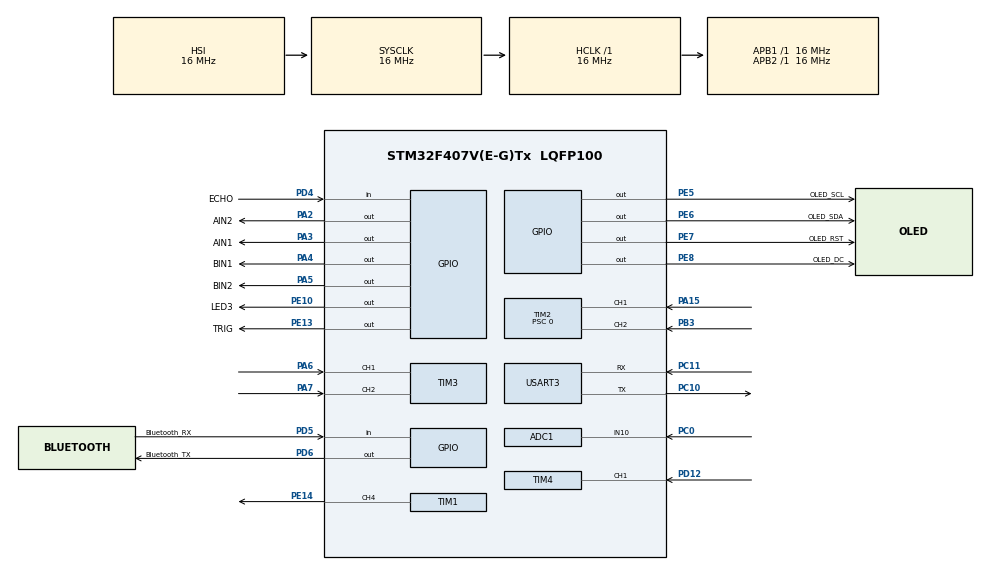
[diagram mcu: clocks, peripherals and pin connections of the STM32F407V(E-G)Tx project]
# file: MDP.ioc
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ADC1.Channel-2\#ChannelRegularConversion=ADC_CHANNEL_10
ADC1.ContinuousConvMode=ENABLE
ADC1.NbrOfConversionFlag=1
ADC1.Rank-2\#ChannelRegularConversion=1
ADC1.SamplingTime-2\#ChannelRegularConversion=ADC_SAMPLETIME_3CYCLES
ADC1.ScanConvMode=ENABLE
ADC1.master=1
FREERTOS.Tasks01=defaultTask,24,128,StartDefaultTask,Default,NULL,Dynamic,NULL,NULL;MotorTask,8,128,motors,Default,NULL,Dynamic,NULL,NULL;Encoder,8,128,encoder,Default,NULL,Dynamic,NULL,NULL;showtask,8,128,show,Default,NULL,Dynamic,NULL,NULL
Mcu.Family=STM32F4
Mcu.Name=STM32F407V(E-G)Tx
Mcu.Package=LQFP100
NVIC.ADC_IRQn=true\:5\:0\:false\:false\:true\:true\:true\:true
NVIC.PriorityGroup=NVIC_PRIORITYGROUP_4
NVIC.TIM1_CC_IRQn=true\:5\:0\:false\:false\:true\:true\:true\:true
NVIC.TIM4_IRQn=true\:5\:0\:false\:false\:true\:true\:true\:true
NVIC.USART3_IRQn=true\:5\:0\:false\:false\:true\:true\:true\:true
PA15.GPIO_Speed=GPIO_SPEED_FREQ_HIGH
PA15.Signal=S_TIM2_CH1_ETR
PA2.GPIO_Label=AIN2
PA2.GPIO_Speed=GPIO_SPEED_FREQ_LOW
PA2.Signal=GPIO_Output
PA3.GPIO_Label=AIN1
PA3.GPIO_Speed=GPIO_SPEED_FREQ_LOW
PA3.Signal=GPIO_Output
PA4.GPIO_Label=BIN1
PA4.Signal=GPIO_Output
PA5.GPIO_Label=BIN2
PA5.Signal=GPIO_Output
PA6.Signal=S_TIM3_CH1
PA7.Signal=S_TIM3_CH2
PB3.GPIO_Speed=GPIO_SPEED_FREQ_HIGH
PB3.Signal=S_TIM2_CH2
PC0.Signal=ADCx_IN10
PC10.Mode=Asynchronous
PC10.Signal=USART3_TX
PC11.Mode=Asynchronous
PC11.Signal=USART3_RX
PC6.GPIO_Label=PWMA
PC6.Signal=S_TIM8_CH1
PC7.GPIO_Label=PWMB
PC7.Signal=S_TIM8_CH2
PD12.Signal=S_TIM4_CH1
PD4.GPIO_Label=ECHO
PD4.Signal=GPIO_Input
PD5.GPIO_Label=Bluetooth_RX
PD5.Signal=GPIO_Input
PD6.GPIO_Label=Bluetooth_TX
PD6.Signal=GPIO_Output
PE10.GPIO_Label=LED3
PE10.Signal=GPIO_Output
PE13.GPIO_Label=TRIG
PE13.Signal=GPIO_Output
PE14.Signal=S_TIM1_CH4
PE5.GPIO_Label=OLED_SCL
PE5.Signal=GPIO_Output
PE6.GPIO_Label=OLED_SDA
PE6.Signal=GPIO_Output
PE7.GPIO_Label=OLED_RST
PE7.Signal=GPIO_Output
PE8.GPIO_Label=OLED_DC
PE8.Signal=GPIO_Output
ProjectManager.HeapSize=0x200
ProjectManager.StackSize=0x400
ProjectManager.TargetToolchain=STM32CubeIDE
RCC.AHBFreq_Value=16000000
RCC.APB1Freq_Value=16000000
RCC.APB2Freq_Value=16000000
RCC.CortexFreq_Value=16000000
RCC.HSE_VALUE=25000000
RCC.HSI_VALUE=16000000
RCC.LSE_VALUE=32768
RCC.SYSCLKFreq_VALUE=16000000
RCC.VCOOutputFreq_Value=192000000
SH.ADCx_IN10.0=ADC1_IN10,IN10
SH.S_TIM1_CH4.0=TIM1_CH4,PWM Generation4 CH4
SH.S_TIM2_CH1_ETR.0=TIM2_CH1,Encoder_Interface
SH.S_TIM2_CH2.0=TIM2_CH2,Encoder_Interface
SH.S_TIM3_CH1.0=TIM3_CH1,Encoder_Interface
SH.S_TIM3_CH2.0=TIM3_CH2,Encoder_Interface
SH.S_TIM4_CH1.0=TIM4_CH1,Input_Capture1_from_TI1
SH.S_TIM8_CH1.0=TIM8_CH1
SH.S_TIM8_CH2.0=TIM8_CH2
TIM1.AutoReloadPreload=TIM_AUTORELOAD_PRELOAD_ENABLE
TIM1.Channel-PWM\ Generation4\ CH4=TIM_CHANNEL_4
TIM1.Period=2000
TIM1.Prescaler=320
TIM2.ClockDivision=TIM_CLOCKDIVISION_DIV1
TIM2.EncoderMode=TIM_ENCODERMODE_TI12
TIM2.IC1Filter=10
TIM2.IC1Prescaler=TIM_ICPSC_DIV1
TIM2.IC2Filter=10
TIM2.IC2Prescaler=TIM_ICPSC_DIV1
TIM2.Period=65535
TIM2.Prescaler=0
TIM3.EncoderMode=TIM_ENCODERMODE_TI12
TIM3.IC1Filter=10
TIM3.IC2Filter=10
TIM4.Channel-Input_Capture1_from_TI1=TIM_CHANNEL_1
TIM4.Prescaler=16
TIM8.Channel-PWM\ Generation1\ No\ Output=TIM_CHANNEL_1
TIM8.Channel-PWM\ Generation2\ No\ Output=TIM_CHANNEL_2
TIM8.Period=7199
USART3.VirtualMode=VM_ASYNC
VP_FREERTOS_VS_CMSIS_V2.Mode=CMSIS_V2
VP_TIM1_VS_ClockSourceINT.Mode=Internal
VP_TIM4_VS_ClockSourceINT.Mode=Internal
VP_TIM8_VS_ClockSourceINT.Mode=Internal
VP_TIM8_VS_no_output1.Mode=PWM Generation1 No Output
VP_TIM8_VS_no_output2.Mode=PWM Generation2 No Output
board=custom

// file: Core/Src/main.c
/* USER CODE BEGIN Header */
/**
  ******************************************************************************
  * @file           : main.c
  * @brief          : Main program body
  ******************************************************************************
  * @attention
  *
  * Copyright (c) 2022 STMicroelectronics.
  * All rights reserved.
  *
  * This software is licensed under terms that can be found in the LICENSE file
  * in the root directory of this software component.
  * If no LICENSE file comes with this software, it is provided AS-IS.
  *
  ******************************************************************************
  */
/* USER CODE END Header */
#include "main.h"
#include "cmsis_os.h"
#include "oled.h"
#include "math.h"

ADC_HandleTypeDef hadc1;

TIM_HandleTypeDef htim1;
TIM_HandleTypeDef htim2;
TIM_HandleTypeDef htim3;
TIM_HandleTypeDef htim4;
TIM_HandleTypeDef htim8;

UART_HandleTypeDef huart3;

/* Definitions for defaultTask */
osThreadId_t defaultTaskHandle;
const osThreadAttr_t defaultTask_attributes = {
  .name = "defaultTask",
  .stack_size = 128 * 4,
  .priority = (osPriority_t) osPriorityNormal,
};
/* Definitions for MotorTask */
osThreadId_t MotorTaskHandle;
const osThreadAttr_t MotorTask_attributes = {
  .name = "MotorTask",
  .stack_size = 128 * 4,
  .priority = (osPriority_t) osPriorityLow,
};
/* Definitions for Encoder */
osThreadId_t EncoderHandle;
const osThreadAttr_t Encoder_attributes = {
  .name = "Encoder",
  .stack_size = 128 * 4,
  .priority = (osPriority_t) osPriorityLow,
};
/* Definitions for showtask */
osThreadId_t showtaskHandle;
const osThreadAttr_t showtask_attributes = {
  .name = "showtask",
  .stack_size = 128 * 4,
  .priority = (osPriority_t) osPriorityLow,
};

void SystemClock_Config(void);
static void MX_GPIO_Init(void);
static void MX_TIM8_Init(void);
static void MX_TIM2_Init(void);
static void MX_TIM1_Init(void);
static void MX_USART3_UART_Init(void);
static void MX_TIM3_Init(void);
static void MX_TIM4_Init(void);
static void MX_ADC1_Init(void);
void StartDefaultTask(void *argument);
void motors(void *argument);
void encoder(void *argument);
void show(void *argument);
void navigate();

int speed1,speed2,y,stop;
//speed1=1530;speed2=810;//home
speed1=1500;speed2=995; //lab
//speed1=1700;speed2=950; //redtiles1
//speed1=1700;speed2=1250; //REDTILES2
y=0;
stop=0;
uint32_t IC_Val1 = 0;
uint32_t IC_Val2 = 0;
uint32_t Difference = 0;
uint8_t Is_First_Captured = 0;  // is the first value captured ?
uint8_t Distance  = 0;
uint8_t aRxBuffer[4];
uint8_t instruction[400];
uint32_t Dist=0;
uint32_t gO=8000;
uint32_t move,dist;
uint32_t x;

#define TRIG_PIN TRIG_Pin
#define TRIG_PORT GPIOE
int main(void)
{

  /* MCU Configuration--------------------------------------------------------*/

  /* Reset of all peripherals, Initializes the Flash interface and the Systick. */
  HAL_Init();

  /* Configure the system clock */
  SystemClock_Config();

  /* Initialize all configured peripherals */
  MX_GPIO_Init();
  MX_TIM8_Init();
  MX_TIM2_Init();
  MX_TIM1_Init();
  MX_USART3_UART_Init();
  MX_TIM3_Init();
  MX_TIM4_Init();
  MX_ADC1_Init();
  OLED_Init();
  //HAL_UART_Receive_IT(&huart3,*(uint8_t *)aRxBuffer,10);

  /* Init scheduler */
  osKernelInitialize();

  /* Create the thread(s) */
  /* creation of defaultTask */
  defaultTaskHandle = osThreadNew(StartDefaultTask, NULL, &defaultTask_attributes);

  /* creation of MotorTask */
  MotorTaskHandle = osThreadNew(motors, NULL, &MotorTask_attributes);

  /* creation of Encoder */
  EncoderHandle = osThreadNew(encoder, NULL, &Encoder_attributes);

  /* creation of showtask */
  showtaskHandle = osThreadNew(show, NULL, &showtask_attributes);

  /* Start scheduler */
  osKernelStart();

  /* We should never get here as control is now taken by the scheduler */
  /* Infinite loop */
  while (1)
  {

  }
}

void SystemClock_Config(void)
{
  RCC_OscInitTypeDef RCC_OscInitStruct = {0};
  RCC_ClkInitTypeDef RCC_ClkInitStruct = {0};

  /** Configure the main internal regulator output voltage
  */
  __HAL_RCC_PWR_CLK_ENABLE();
  __HAL_PWR_VOLTAGESCALING_CONFIG(PWR_REGULATOR_VOLTAGE_SCALE1);
  /** Initializes the RCC Oscillators according to the specified parameters
  * in the RCC_OscInitTypeDef structure.
  */
  RCC_OscInitStruct.OscillatorType = RCC_OSCILLATORTYPE_HSI;
  RCC_OscInitStruct.HSIState = RCC_HSI_ON;
  RCC_OscInitStruct.HSICalibrationValue = RCC_HSICALIBRATION_DEFAULT;
  RCC_OscInitStruct.PLL.PLLState = RCC_PLL_NONE;
  if (HAL_RCC_OscConfig(&RCC_OscInitStruct) != HAL_OK)
  {
    Error_Handler();
  }
  /** Initializes the CPU, AHB and APB buses clocks
  */
  RCC_ClkInitStruct.ClockType = RCC_CLOCKTYPE_HCLK|RCC_CLOCKTYPE_SYSCLK
                              |RCC_CLOCKTYPE_PCLK1|RCC_CLOCKTYPE_PCLK2;
  RCC_ClkInitStruct.SYSCLKSource = RCC_SYSCLKSOURCE_HSI;
  RCC_ClkInitStruct.AHBCLKDivider = RCC_SYSCLK_DIV1;
  RCC_ClkInitStruct.APB1CLKDivider = RCC_HCLK_DIV1;
  RCC_ClkInitStruct.APB2CLKDivider = RCC_HCLK_DIV1;

  if (HAL_RCC_ClockConfig(&RCC_ClkInitStruct, FLASH_LATENCY_0) != HAL_OK)
  {
    Error_Handler();
  }
}

static void MX_ADC1_Init(void)
{

  ADC_ChannelConfTypeDef sConfig = {0};

  /** Configure the global features of the ADC (Clock, Resolution, Data Alignment and number of conversion)
  */
  hadc1.Instance = ADC1;
  hadc1.Init.ClockPrescaler = ADC_CLOCK_SYNC_PCLK_DIV2;
  hadc1.Init.Resolution = ADC_RESOLUTION_12B;
  hadc1.Init.ScanConvMode = ENABLE;
  hadc1.Init.ContinuousConvMode = ENABLE;
  hadc1.Init.DiscontinuousConvMode = DISABLE;
  hadc1.Init.ExternalTrigConvEdge = ADC_EXTERNALTRIGCONVEDGE_NONE;
  hadc1.Init.ExternalTrigConv = ADC_SOFTWARE_START;
  hadc1.Init.DataAlign = ADC_DATAALIGN_RIGHT;
  hadc1.Init.NbrOfConversion = 1;
  hadc1.Init.DMAContinuousRequests = DISABLE;
  hadc1.Init.EOCSelection = ADC_EOC_SINGLE_CONV;
  if (HAL_ADC_Init(&hadc1) != HAL_OK)
  {
    Error_Handler();
  }
  /** Configure for the selected ADC regular channel its corresponding rank in the sequencer and its sample time.
  */
  sConfig.Channel = ADC_CHANNEL_10;
  sConfig.Rank = 1;
  sConfig.SamplingTime = ADC_SAMPLETIME_3CYCLES;
  if (HAL_ADC_ConfigChannel(&hadc1, &sConfig) != HAL_OK)
  {
    Error_Handler();
  }

}

static void MX_TIM1_Init(void)
{

  TIM_ClockConfigTypeDef sClockSourceConfig = {0};
  TIM_MasterConfigTypeDef sMasterConfig = {0};
  TIM_OC_InitTypeDef sConfigOC = {0};
  TIM_BreakDeadTimeConfigTypeDef sBreakDeadTimeConfig = {0};

  htim1.Instance = TIM1;
  htim1.Init.Prescaler = 320;
  htim1.Init.CounterMode = TIM_COUNTERMODE_UP;
  htim1.Init.Period = 2000;
  htim1.Init.ClockDivision = TIM_CLOCKDIVISION_DIV1;
  htim1.Init.RepetitionCounter = 0;
  htim1.Init.AutoReloadPreload = TIM_AUTORELOAD_PRELOAD_ENABLE;
  if (HAL_TIM_Base_Init(&htim1) != HAL_OK)
  {
    Error_Handler();
  }
  sClockSourceConfig.ClockSource = TIM_CLOCKSOURCE_INTERNAL;
  if (HAL_TIM_ConfigClockSource(&htim1, &sClockSourceConfig) != HAL_OK)
  {
    Error_Handler();
  }
  if (HAL_TIM_PWM_Init(&htim1) != HAL_OK)
  {
    Error_Handler();
  }
  sMasterConfig.MasterOutputTrigger = TIM_TRGO_RESET;
  sMasterConfig.MasterSlaveMode = TIM_MASTERSLAVEMODE_DISABLE;
  if (HAL_TIMEx_MasterConfigSynchronization(&htim1, &sMasterConfig) != HAL_OK)
  {
    Error_Handler();
  }
  sConfigOC.OCMode = TIM_OCMODE_PWM1;
  sConfigOC.Pulse = 0;
  sConfigOC.OCPolarity = TIM_OCPOLARITY_HIGH;
  sConfigOC.OCFastMode = TIM_OCFAST_DISABLE;
  sConfigOC.OCIdleState = TIM_OCIDLESTATE_RESET;
  sConfigOC.OCNIdleState = TIM_OCNIDLESTATE_RESET;
  if (HAL_TIM_PWM_ConfigChannel(&htim1, &sConfigOC, TIM_CHANNEL_4) != HAL_OK)
  {
    Error_Handler();
  }
  sBreakDeadTimeConfig.OffStateRunMode = TIM_OSSR_DISABLE;
  sBreakDeadTimeConfig.OffStateIDLEMode = TIM_OSSI_DISABLE;
  sBreakDeadTimeConfig.LockLevel = TIM_LOCKLEVEL_OFF;
  sBreakDeadTimeConfig.DeadTime = 0;
  sBreakDeadTimeConfig.BreakState = TIM_BREAK_DISABLE;
  sBreakDeadTimeConfig.BreakPolarity = TIM_BREAKPOLARITY_HIGH;
  sBreakDeadTimeConfig.AutomaticOutput = TIM_AUTOMATICOUTPUT_DISABLE;
  if (HAL_TIMEx_ConfigBreakDeadTime(&htim1, &sBreakDeadTimeConfig) != HAL_OK)
  {
    Error_Handler();
  }
  HAL_TIM_MspPostInit(&htim1);

}
static void MX_TIM2_Init(void)
{

  TIM_Encoder_InitTypeDef sConfig = {0};
  TIM_MasterConfigTypeDef sMasterConfig = {0};

  htim2.Instance = TIM2;
  htim2.Init.Prescaler = 0;
  htim2.Init.CounterMode = TIM_COUNTERMODE_UP;
  htim2.Init.Period = 65535;
  htim2.Init.ClockDivision = TIM_CLOCKDIVISION_DIV1;
  htim2.Init.AutoReloadPreload = TIM_AUTORELOAD_PRELOAD_DISABLE;
  sConfig.EncoderMode = TIM_ENCODERMODE_TI12;
  sConfig.IC1Polarity = TIM_ICPOLARITY_RISING;
  sConfig.IC1Selection = TIM_ICSELECTION_DIRECTTI;
  sConfig.IC1Prescaler = TIM_ICPSC_DIV1;
  sConfig.IC1Filter = 10;
  sConfig.IC2Polarity = TIM_ICPOLARITY_RISING;
  sConfig.IC2Selection = TIM_ICSELECTION_DIRECTTI;
  sConfig.IC2Prescaler = TIM_ICPSC_DIV1;
  sConfig.IC2Filter = 10;
  if (HAL_TIM_Encoder_Init(&htim2, &sConfig) != HAL_OK)
  {
    Error_Handler();
  }
  sMasterConfig.MasterOutputTrigger = TIM_TRGO_RESET;
  sMasterConfig.MasterSlaveMode = TIM_MASTERSLAVEMODE_DISABLE;
  if (HAL_TIMEx_MasterConfigSynchronization(&htim2, &sMasterConfig) != HAL_OK)
  {
    Error_Handler();
  }

}

static void MX_TIM3_Init(void)
{

  TIM_Encoder_InitTypeDef sConfig = {0};
  TIM_MasterConfigTypeDef sMasterConfig = {0};

  htim3.Instance = TIM3;
  htim3.Init.Prescaler = 0;
  htim3.Init.CounterMode = TIM_COUNTERMODE_UP;
  htim3.Init.Period = 65535;
  htim3.Init.ClockDivision = TIM_CLOCKDIVISION_DIV1;
  htim3.Init.AutoReloadPreload = TIM_AUTORELOAD_PRELOAD_DISABLE;
  sConfig.EncoderMode = TIM_ENCODERMODE_TI12;
  sConfig.IC1Polarity = TIM_ICPOLARITY_RISING;
  sConfig.IC1Selection = TIM_ICSELECTION_DIRECTTI;
  sConfig.IC1Prescaler = TIM_ICPSC_DIV1;
  sConfig.IC1Filter = 10;
  sConfig.IC2Polarity = TIM_ICPOLARITY_RISING;
  sConfig.IC2Selection = TIM_ICSELECTION_DIRECTTI;
  sConfig.IC2Prescaler = TIM_ICPSC_DIV1;
  sConfig.IC2Filter = 10;
  if (HAL_TIM_Encoder_Init(&htim3, &sConfig) != HAL_OK)
  {
    Error_Handler();
  }
  sMasterConfig.MasterOutputTrigger = TIM_TRGO_RESET;
  sMasterConfig.MasterSlaveMode = TIM_MASTERSLAVEMODE_DISABLE;
  if (HAL_TIMEx_MasterConfigSynchronization(&htim3, &sMasterConfig) != HAL_OK)
  {
    Error_Handler();
  }

}

static void MX_TIM4_Init(void)
{

  TIM_ClockConfigTypeDef sClockSourceConfig = {0};
  TIM_MasterConfigTypeDef sMasterConfig = {0};
  TIM_IC_InitTypeDef sConfigIC = {0};

  htim4.Instance = TIM4;
  htim4.Init.Prescaler = 16;
  htim4.Init.CounterMode = TIM_COUNTERMODE_UP;
  htim4.Init.Period = 65535;
  htim4.Init.ClockDivision = TIM_CLOCKDIVISION_DIV1;
  htim4.Init.AutoReloadPreload = TIM_AUTORELOAD_PRELOAD_DISABLE;
  if (HAL_TIM_Base_Init(&htim4) != HAL_OK)
  {
    Error_Handler();
  }
  sClockSourceConfig.ClockSource = TIM_CLOCKSOURCE_INTERNAL;
  if (HAL_TIM_ConfigClockSource(&htim4, &sClockSourceConfig) != HAL_OK)
  {
    Error_Handler();
  }
  if (HAL_TIM_IC_Init(&htim4) != HAL_OK)
  {
    Error_Handler();
  }
  sMasterConfig.MasterOutputTrigger = TIM_TRGO_RESET;
  sMasterConfig.MasterSlaveMode = TIM_MASTERSLAVEMODE_DISABLE;
  if (HAL_TIMEx_MasterConfigSynchronization(&htim4, &sMasterConfig) != HAL_OK)
  {
    Error_Handler();
  }
  sConfigIC.ICPolarity = TIM_INPUTCHANNELPOLARITY_RISING;
  sConfigIC.ICSelection = TIM_ICSELECTION_DIRECTTI;
  sConfigIC.ICPrescaler = TIM_ICPSC_DIV1;
  sConfigIC.ICFilter = 0;
  if (HAL_TIM_IC_ConfigChannel(&htim4, &sConfigIC, TIM_CHANNEL_1) != HAL_OK)
  {
    Error_Handler();
  }

}

static void MX_TIM8_Init(void)
{

  TIM_ClockConfigTypeDef sClockSourceConfig = {0};
  TIM_MasterConfigTypeDef sMasterConfig = {0};
  TIM_OC_InitTypeDef sConfigOC = {0};
  TIM_BreakDeadTimeConfigTypeDef sBreakDeadTimeConfig = {0};

  htim8.Instance = TIM8;
  htim8.Init.Prescaler = 0;
  htim8.Init.CounterMode = TIM_COUNTERMODE_UP;
  htim8.Init.Period = 7199;
  htim8.Init.ClockDivision = TIM_CLOCKDIVISION_DIV1;
  htim8.Init.RepetitionCounter = 0;
  htim8.Init.AutoReloadPreload = TIM_AUTORELOAD_PRELOAD_DISABLE;
  if (HAL_TIM_Base_Init(&htim8) != HAL_OK)
  {
    Error_Handler();
  }
  sClockSourceConfig.ClockSource = TIM_CLOCKSOURCE_INTERNAL;
  if (HAL_TIM_ConfigClockSource(&htim8, &sClockSourceConfig) != HAL_OK)
  {
    Error_Handler();
  }
  if (HAL_TIM_PWM_Init(&htim8) != HAL_OK)
  {
    Error_Handler();
  }
  sMasterConfig.MasterOutputTrigger = TIM_TRGO_RESET;
  sMasterConfig.MasterSlaveMode = TIM_MASTERSLAVEMODE_DISABLE;
  if (HAL_TIMEx_MasterConfigSynchronization(&htim8, &sMasterConfig) != HAL_OK)
  {
    Error_Handler();
  }
  sConfigOC.OCMode = TIM_OCMODE_PWM1;
  sConfigOC.Pulse = 0;
  sConfigOC.OCPolarity = TIM_OCPOLARITY_HIGH;
  sConfigOC.OCNPolarity = TIM_OCNPOLARITY_HIGH;
  sConfigOC.OCFastMode = TIM_OCFAST_DISABLE;
  sConfigOC.OCIdleState = TIM_OCIDLESTATE_RESET;
  sConfigOC.OCNIdleState = TIM_OCNIDLESTATE_RESET;
  if (HAL_TIM_PWM_ConfigChannel(&htim8, &sConfigOC, TIM_CHANNEL_1) != HAL_OK)
  {
    Error_Handler();
  }
  if (HAL_TIM_PWM_ConfigChannel(&htim8, &sConfigOC, TIM_CHANNEL_2) != HAL_OK)
  {
    Error_Handler();
  }
  sBreakDeadTimeConfig.OffStateRunMode = TIM_OSSR_DISABLE;
  sBreakDeadTimeConfig.OffStateIDLEMode = TIM_OSSI_DISABLE;
  sBreakDeadTimeConfig.LockLevel = TIM_LOCKLEVEL_OFF;
  sBreakDeadTimeConfig.DeadTime = 0;
  sBreakDeadTimeConfig.BreakState = TIM_BREAK_DISABLE;
  sBreakDeadTimeConfig.BreakPolarity = TIM_BREAKPOLARITY_HIGH;
  sBreakDeadTimeConfig.AutomaticOutput = TIM_AUTOMATICOUTPUT_DISABLE;
  if (HAL_TIMEx_ConfigBreakDeadTime(&htim8, &sBreakDeadTimeConfig) != HAL_OK)
  {
    Error_Handler();
  }

}

static void MX_USART3_UART_Init(void)
{

  huart3.Instance = USART3;
  huart3.Init.BaudRate = 115200;
  huart3.Init.WordLength = UART_WORDLENGTH_8B;
  huart3.Init.StopBits = UART_STOPBITS_1;
  huart3.Init.Parity = UART_PARITY_NONE;
  huart3.Init.Mode = UART_MODE_TX_RX;
  huart3.Init.HwFlowCtl = UART_HWCONTROL_NONE;
  huart3.Init.OverSampling = UART_OVERSAMPLING_16;
  if (HAL_UART_Init(&huart3) != HAL_OK)
  {
    Error_Handler();
  }

}

static void MX_GPIO_Init(void)
{
  GPIO_InitTypeDef GPIO_InitStruct = {0};

  /* GPIO Ports Clock Enable */
  __HAL_RCC_GPIOE_CLK_ENABLE();
  __HAL_RCC_GPIOC_CLK_ENABLE();
  __HAL_RCC_GPIOA_CLK_ENABLE();
  __HAL_RCC_GPIOD_CLK_ENABLE();
  __HAL_RCC_GPIOB_CLK_ENABLE();

  /*Configure GPIO pin Output Level */
  HAL_GPIO_WritePin(GPIOE, OLED_SCL_Pin|OLED_SDA_Pin|OLED_RST_Pin|OLED_DC_Pin
                          |LED3_Pin|TRIG_Pin, GPIO_PIN_RESET);

  /*Configure GPIO pin Output Level */
  HAL_GPIO_WritePin(GPIOA, AIN2_Pin|AIN1_Pin|BIN1_Pin|BIN2_Pin, GPIO_PIN_RESET);

  /*Configure GPIO pin Output Level */
  HAL_GPIO_WritePin(Bluetooth_TX_GPIO_Port, Bluetooth_TX_Pin, GPIO_PIN_RESET);

  /*Configure GPIO pins : OLED_SCL_Pin OLED_SDA_Pin OLED_RST_Pin OLED_DC_Pin
                           LED3_Pin TRIG_Pin */
  GPIO_InitStruct.Pin = OLED_SCL_Pin|OLED_SDA_Pin|OLED_RST_Pin|OLED_DC_Pin
                          |LED3_Pin|TRIG_Pin;
  GPIO_InitStruct.Mode = GPIO_MODE_OUTPUT_PP;
  GPIO_InitStruct.Pull = GPIO_NOPULL;
  GPIO_InitStruct.Speed = GPIO_SPEED_FREQ_LOW;
  HAL_GPIO_Init(GPIOE, &GPIO_InitStruct);

  /*Configure GPIO pins : AIN2_Pin AIN1_Pin BIN1_Pin BIN2_Pin */
  GPIO_InitStruct.Pin = AIN2_Pin|AIN1_Pin|BIN1_Pin|BIN2_Pin;
  GPIO_InitStruct.Mode = GPIO_MODE_OUTPUT_PP;
  GPIO_InitStruct.Pull = GPIO_NOPULL;
  GPIO_InitStruct.Speed = GPIO_SPEED_FREQ_LOW;
  HAL_GPIO_Init(GPIOA, &GPIO_InitStruct);

  /*Configure GPIO pins : ECHO_Pin Bluetooth_RX_Pin */
  GPIO_InitStruct.Pin = ECHO_Pin|Bluetooth_RX_Pin;
  GPIO_InitStruct.Mode = GPIO_MODE_INPUT;
  GPIO_InitStruct.Pull = GPIO_NOPULL;
  HAL_GPIO_Init(GPIOD, &GPIO_InitStruct);

  /*Configure GPIO pin : Bluetooth_TX_Pin */
  GPIO_InitStruct.Pin = Bluetooth_TX_Pin;
  GPIO_InitStruct.Mode = GPIO_MODE_OUTPUT_PP;
  GPIO_InitStruct.Pull = GPIO_NOPULL;
  GPIO_InitStruct.Speed = GPIO_SPEED_FREQ_LOW;
  HAL_GPIO_Init(Bluetooth_TX_GPIO_Port, &GPIO_InitStruct);

}

void StartDefaultTask(void *argument)
{
  /* USER CODE BEGIN 5 */
  /* Infinite loop */
	uint8_t ch;
	uint8_t hello[20];

	uint32_t deLay;
	int a;
	int b=0;
  for(;;)
  {
	 HAL_UART_Receive_IT(&huart3,(uint8_t *) aRxBuffer,4);
	// sprintf(hello,"%s",aRxBuffer);
	// OLED_ShowString(10,40,hello);
	 osDelay(200);

  }
  /* USER CODE END 5 */
}

void motors(void *argument)
{
  /* USER CODE BEGIN motors */
  /* Infinite loop */
	//start dc motor
	//HAL_TIM_PWM_Start(&htim8, TIM_CHANNEL_1);
	//clockwise
	//HAL_GPIO_WritePin(GPIOA,AIN2_Pin,GPIO_PIN_SET);
	//HAL_GPIO_WritePin(GPIOA,AIN1_Pin,GPIO_PIN_RESET);
	//__HAL_TIM_SET_COMPARE(&htim8, TIM_CHANNEL_1, 1000);
	//anti-clockwise
	//HAL_GPIO_WritePin(GPIOA,AIN1_Pin,GPIO_PIN_SET);
	//HAL_GPIO_WritePin(GPIOA,AIN2_Pin,GPIO_PIN_RESET);
	//servo motor
	//HAL_TIM_PWM_Start(&htim1, TIM_CHANNEL_4);
	//htim1.Instance->CCR4 = 100; extreme right
	//osDelay(4000);
	//htim1.Instance->CCR4 = 72;
	//htim1.Instance->CCR4 = 72; center
	//htim1.Instance->CCR4 = 52 ; extreme left
	//osDelay(3150);
	//htim1.Instance->CCR4 = 75;
	HAL_TIM_PWM_Start(&htim1, TIM_CHANNEL_4);
	HAL_TIM_PWM_Start(&htim8, TIM_CHANNEL_1);
	HAL_TIM_PWM_Start(&htim8, TIM_CHANNEL_2);
	//htim1.Instance->CCR4 = 60;
	//osDelay(1000);
	htim1.Instance->CCR4 = 73;
	HCSR04_Read();
	osDelay(1000);
	 HAL_GPIO_WritePin(GPIOA,AIN2_Pin,GPIO_PIN_RESET);
     HAL_GPIO_WritePin(GPIOA,AIN1_Pin,GPIO_PIN_SET);
	 HAL_GPIO_WritePin(GPIOA,BIN2_Pin,GPIO_PIN_RESET);
	HAL_GPIO_WritePin(GPIOA,BIN1_Pin,GPIO_PIN_SET);
	uint8_t dis[10]=":MOVED:";
	uint32_t deLay;
	uint32_t hello[20];
	int b=0;
	int a;
	int c=0;

	//gO= (Distance - 50)*100 ;

  for(;;)
  {
	//  __HAL_TIM_SET_COMPARE(&htim8, TIM_CHANNEL_1, speed1);
	 // __HAL_TIM_SET_COMPARE(&htim8, TIM_CHANNEL_2, speed2);
	 // osDelay(6000);
	  	//  htim1.Instance->CCR4 = 60;
	  //	  	__HAL_TIM_SET_COMPARE(&htim8, TIM_CHANNEL_1, 800);
	  //	  	__HAL_TIM_SET_COMPARE(&htim8, TIM_CHANNEL_2, 1400);
	  //	  	osDelay(4000);
	  	  //LEFT TURN
	/*  htim1.Instance->CCR4 = 113 ;
		  	  	  	  __HAL_TIM_SET_COMPARE(&htim8, TIM_CHANNEL_1, 1400);
		  	  	  	  __HAL_TIM_SET_COMPARE(&htim8, TIM_CHANNEL_2, 800);
		  	  	  	  osDelay(200);
		  	  	  htim1.Instance->CCR4 = 54;
		  	  	  	__HAL_TIM_SET_COMPARE(&htim8, TIM_CHANNEL_1, 800);
		  	  	  	__HAL_TIM_SET_COMPARE(&htim8, TIM_CHANNEL_2, 1400);
		  	  	  	osDelay(2900);
		  	  			HAL_GPIO_WritePin(GPIOA,AIN2_Pin,GPIO_PIN_SET);
		  	  			 HAL_GPIO_WritePin(GPIOA,AIN1_Pin,GPIO_PIN_RESET);
		  	  			 HAL_GPIO_WritePin(GPIOA,BIN2_Pin,GPIO_PIN_SET);
		  	  			 HAL_GPIO_WritePin(GPIOA,BIN1_Pin,GPIO_PIN_RESET);
		  	  			htim1.Instance->CCR4 = 113;
		  		 	  __HAL_TIM_SET_COMPARE(&htim8, TIM_CHANNEL_1, 0);
		  		 	  __HAL_TIM_SET_COMPARE(&htim8, TIM_CHANNEL_2, 0);
		  		 	 osDelay(200);
		  	  			 __HAL_TIM_SET_COMPARE(&htim8, TIM_CHANNEL_1, 1400);
		  	  			 __HAL_TIM_SET_COMPARE(&htim8, TIM_CHANNEL_2, 600);
		  	  			osDelay(500);
		  	  		HAL_GPIO_WritePin(GPIOA,AIN2_Pin,GPIO_PIN_RESET);
		  	  		     HAL_GPIO_WritePin(GPIOA,AIN1_Pin,GPIO_PIN_SET);
		  	  			 HAL_GPIO_WritePin(GPIOA,BIN2_Pin,GPIO_PIN_RESET);
		  	  			HAL_GPIO_WritePin(GPIOA,BIN1_Pin,GPIO_PIN_SET);
		 	  			htim1.Instance->CCR4 = 73;
		 	 	 	  __HAL_TIM_SET_COMPARE(&htim8, TIM_CHANNEL_1, 0);
		 	 	 	  __HAL_TIM_SET_COMPARE(&htim8, TIM_CHANNEL_2, 0);
		 	 	 	 osDelay(200);
		 	  			__HAL_TIM_SET_COMPARE(&htim8, TIM_CHANNEL_1, 1400);
		 	  			 __HAL_TIM_SET_COMPARE(&htim8, TIM_CHANNEL_2, 700);
		 	  			  osDelay(160);
		 	  			 htim1.Instance->CCR4 = 73;*/
	 	  			 //RIGHT TURN
	/*  __HAL_TIM_SET_COMPARE(&htim8, TIM_CHANNEL_1, speed1);
	 	  __HAL_TIM_SET_COMPARE(&htim8, TIM_CHANNEL_2, speed2);
	 	  osDelay(300);
	 	  htim1.Instance->CCR4 = 113 ;
	 	//  HAL_GPIO_WritePin(GPIOA,BIN2_Pin,GPIO_PIN_SET);
	 	 // HAL_GPIO_WritePin(GPIOA,BIN1_Pin,GPIO_PIN_RESET);
	 	  __HAL_TIM_SET_COMPARE(&htim8, TIM_CHANNEL_1, 1500);
	 	  __HAL_TIM_SET_COMPARE(&htim8, TIM_CHANNEL_2, 600);
	 	  osDelay(2500);

	 	  HAL_GPIO_WritePin(GPIOA,AIN2_Pin,GPIO_PIN_SET);
	 	  HAL_GPIO_WritePin(GPIOA,AIN1_Pin,GPIO_PIN_RESET);
	 	  HAL_GPIO_WritePin(GPIOA,BIN2_Pin,GPIO_PIN_SET);
	 	  HAL_GPIO_WritePin(GPIOA,BIN1_Pin,GPIO_PIN_RESET);
	 	  htim1.Instance->CCR4 = 54;
	 	  __HAL_TIM_SET_COMPARE(&htim8, TIM_CHANNEL_1, 0);
	 	  __HAL_TIM_SET_COMPARE(&htim8, TIM_CHANNEL_2, 0);
	 	 osDelay(200);
	 	  __HAL_TIM_SET_COMPARE(&htim8, TIM_CHANNEL_1, 900);
	 	  __HAL_TIM_SET_COMPARE(&htim8, TIM_CHANNEL_2, 1400);
	 	  osDelay(680);
	 	  htim1.Instance->CCR4 = 73;
	 	  __HAL_TIM_SET_COMPARE(&htim8, TIM_CHANNEL_1, 0);
	 	  __HAL_TIM_SET_COMPARE(&htim8, TIM_CHANNEL_2, 0);
	 	  osDelay(200);
	 	  __HAL_TIM_SET_COMPARE(&htim8, TIM_CHANNEL_1, 1510);
	 	  __HAL_TIM_SET_COMPARE(&htim8, TIM_CHANNEL_2, 900);

	 	  HAL_GPIO_WritePin(GPIOA,AIN2_Pin,GPIO_PIN_RESET);
	 	  HAL_GPIO_WritePin(GPIOA,AIN1_Pin,GPIO_PIN_SET);
	 	  HAL_GPIO_WritePin(GPIOA,BIN2_Pin,GPIO_PIN_RESET);
	 	  HAL_GPIO_WritePin(GPIOA,BIN1_Pin,GPIO_PIN_SET);
	 	  osDelay(630);
	 	  htim1.Instance->CCR4 = 73;*/
	 	 // __HAL_TIM_SET_COMPARE(&htim8, TIM_CHANNEL_1, 1510);
	 	 // __HAL_TIM_SET_COMPARE(&htim8, TIM_CHANNEL_2, 900);
	 	 // osDelay(100);
	  		// OLED_ShowString(10,40,hello);
	//  HAL_TIM_PWM_Start(&htim8, TIM_CHANNEL_1);
	//  HAL_TIM_PWM_Start(&htim8, TIM_CHANNEL_2);
		/* __HAL_TIM_SET_COMPARE(&htim8, TIM_CHANNEL_1, speed1);
		 __HAL_TIM_SET_COMPARE(&htim8, TIM_CHANNEL_2, speed2);
		 osDelay(2000);*/
	  // htim1.Instance->CCR4=110; //30 cm left turn (lab)
	  //  osDelay(1000);
	//    htim1.Instance->CCR4=73;
	 //   osDelay(1000);
	 	//	 __HAL_TIM_SET_COMPARE(&htim8, TIM_CHANNEL_1, 1200);
	 //	 __HAL_TIM_SET_COMPARE(&htim8, TIM_CHANNEL_2, 500);
	 //		 osDelay(4550);
	//	 htim1.Instance->CCR4 = 73 ;
		// __HAL_TIM_SET_COMPARE(&htim8, TIM_CHANNEL_1, 1500);
	//	 __HAL_TIM_SET_COMPARE(&htim8, TIM_CHANNEL_2, 900);

	//  deLay=(gO/185)*100;
	//  osDelay(deLay);
	//  sprintf(dis,"%d",deLay);
	//  OLED_ShowString(0,0,dis);

		// osDelay(5800);
		 //htim1.Instance->CCR4 = 73;
		 //osDelay(5000);
	 // osDelay(2950,6000,9000,12200); 90,180,270,360 - R
		//osDelay(2950,5950,9000,12250) lab
	  // osDelay(3900,7100,10300,13790); 90,180,270,360 -L
		 //osDelay(4000,7800,11700,)
	//  HAL_TIM_PWM_Stop(&htim8, TIM_CHANNEL_1);
	  //HAL_TIM_PWM_Stop(&htim8, TIM_CHANNEL_2);
	//	osDelay(1000);
		//HAL_TIM_PWM_Stop(&htim1, TIM_CHANNEL_4);
	 x=instruction[b];
	  switch(x){
	 case 'f':

		 move=0;

		for(a=1;a<4;a++){

			move=move*10 + (instruction[b+a]-'0');

		}

			gO=move*100;

		sprintf(hello,"%c%d",x,move);
		OLED_ShowString(20,20,hello);
		HAL_GPIO_WritePin(GPIOA,AIN2_Pin,GPIO_PIN_RESET);
		HAL_GPIO_WritePin(GPIOA,AIN1_Pin,GPIO_PIN_SET);
		HAL_GPIO_WritePin(GPIOA,BIN2_Pin,GPIO_PIN_RESET);
		HAL_GPIO_WritePin(GPIOA,BIN1_Pin,GPIO_PIN_SET);
		if(gO>0){
		 __HAL_TIM_SET_COMPARE(&htim8, TIM_CHANNEL_1, speed1);
		 __HAL_TIM_SET_COMPARE(&htim8, TIM_CHANNEL_2, speed2);
		}
		// OLED_ShowString(10,40,hello);
		 htim1.Instance->CCR4 = 73;
		// osDelay(50);
		// deLay=(gO/185)*100;
	//	 osDelay(deLay);
		// sprintf(hello,"%d",deLay);
		// OLED_ShowString(0,0,hello);
		 if(Dist+stop>=gO){
		 __HAL_TIM_SET_COMPARE(&htim8, TIM_CHANNEL_1, 0);
		 __HAL_TIM_SET_COMPARE(&htim8, TIM_CHANNEL_2, 0);
		 osDelay(50);
		 Dist=0;
		 b=b+4;
		 //:MOVED:
		 HAL_UART_Transmit(&huart3,(uint8_t *)dis,7,0xFFFF);
		 }
		 break;
	 case 'b':

		// x='s';
		 move=0;
		 for(a=1;a<4;a++){

		 	move=move*10 + (instruction[b+a]-'0');

		 	}
		 gO=move*100;
		sprintf(hello,"%c%d",x,move);
		OLED_ShowString(20,20,hello);
		 HAL_GPIO_WritePin(GPIOA,AIN2_Pin,GPIO_PIN_SET);
		 HAL_GPIO_WritePin(GPIOA,AIN1_Pin,GPIO_PIN_RESET);
		 HAL_GPIO_WritePin(GPIOA,BIN2_Pin,GPIO_PIN_SET);
		 HAL_GPIO_WritePin(GPIOA,BIN1_Pin,GPIO_PIN_RESET);
		 __HAL_TIM_SET_COMPARE(&htim8, TIM_CHANNEL_1, speed1);
		 __HAL_TIM_SET_COMPARE(&htim8, TIM_CHANNEL_2, speed2);
		 htim1.Instance->CCR4 = 73;
		// deLay=(gO/185)*100;
		// osDelay(deLay);

		// __HAL_TIM_SET_COMPARE(&htim8, TIM_CHANNEL_1, 0);
	//	 __HAL_TIM_SET_COMPARE(&htim8, TIM_CHANNEL_2, 0);

		 if(Dist+stop>=gO){
		 		 __HAL_TIM_SET_COMPARE(&htim8, TIM_CHANNEL_1, 0);
		 		 __HAL_TIM_SET_COMPARE(&htim8, TIM_CHANNEL_2, 0);
		 		 osDelay(50);
		 		 Dist=0;
		 		 b=b+4;
		 		HAL_UART_Transmit(&huart3,(uint8_t *)dis,7,0xFFFF);
		 		 }

		 break;
	 case 'l':

	 		// x='s';
	 		 move=0;
	 		 for(a=1;a<4;a++){

	 		 	move=move*10 + (instruction[b+a]-'0');

	 		 	}
	 			sprintf(hello,"%c%d",x,move);
	 			OLED_ShowString(20,20,hello);
	 	//			htim1.Instance->CCR4 = 54 ;
	 	  //	  	  __HAL_TIM_SET_COMPARE(&htim8, TIM_CHANNEL_1, 1000);
	 	  	//  	  __HAL_TIM_SET_COMPARE(&htim8, TIM_CHANNEL_2, 1200);

	 		// osDelay(4800);

	 		 //180 - 2.06
	 		 //270 - 3.12
	 		 //360 - 4.20162
	 		 if(move==0){

	 			 htim1.Instance->CCR4 = 113 ;
	 				  	  	  	  __HAL_TIM_SET_COMPARE(&htim8, TIM_CHANNEL_1, 1400);
	 				  	  	  	  __HAL_TIM_SET_COMPARE(&htim8, TIM_CHANNEL_2, 800);
	 				  	  	  	  osDelay(220);
	 				  	  	  htim1.Instance->CCR4 = 54;
	 				  	  	  	__HAL_TIM_SET_COMPARE(&htim8, TIM_CHANNEL_1, 800);
	 				  	  	  	__HAL_TIM_SET_COMPARE(&htim8, TIM_CHANNEL_2, 1400);
	 				  	  	  	osDelay(2900);
	 				  	  			HAL_GPIO_WritePin(GPIOA,AIN2_Pin,GPIO_PIN_SET);
	 				  	  			 HAL_GPIO_WritePin(GPIOA,AIN1_Pin,GPIO_PIN_RESET);
	 				  	  			 HAL_GPIO_WritePin(GPIOA,BIN2_Pin,GPIO_PIN_SET);
	 				  	  			 HAL_GPIO_WritePin(GPIOA,BIN1_Pin,GPIO_PIN_RESET);
	 				  	  			htim1.Instance->CCR4 = 113;
	 				  	  			 __HAL_TIM_SET_COMPARE(&htim8, TIM_CHANNEL_1, 1400);
	 				  	  			 __HAL_TIM_SET_COMPARE(&htim8, TIM_CHANNEL_2, 600);
	 				  	  			osDelay(1255);
	 				  	  		HAL_GPIO_WritePin(GPIOA,AIN2_Pin,GPIO_PIN_RESET);
	 				  	  		     HAL_GPIO_WritePin(GPIOA,AIN1_Pin,GPIO_PIN_SET);
	 				  	  			 HAL_GPIO_WritePin(GPIOA,BIN2_Pin,GPIO_PIN_RESET);
	 				  	  			HAL_GPIO_WritePin(GPIOA,BIN1_Pin,GPIO_PIN_SET);
	 				 	  			htim1.Instance->CCR4 = 73;
	 				 	  			osDelay(200);
	 				 	  			__HAL_TIM_SET_COMPARE(&htim8, TIM_CHANNEL_1, speed1);
	 				 	  			 __HAL_TIM_SET_COMPARE(&htim8, TIM_CHANNEL_2, speed2);
	 				 	  			  osDelay(410);
	 				 	  			 htim1.Instance->CCR4 = 73;
	 		 }
	 		 if(move==1){
	 			 osDelay(7200);
	 		 }
	 		 if(move==2){
	 			 osDelay(10800);
	 		 }
	 		 if(move==3){
	 			 osDelay(14000);
	 		 }
	 		 ////osDelay(4000,7800,11700,)
	 		 htim1.Instance->CCR4 = 73;

	 		    b=b+4;
	 		  HAL_UART_Transmit(&huart3,(uint8_t *)dis,7,0xFFFF);
	 		 break;
	 	 case 'r':
	 		// x='s';
	 		 move=0;
	 		 for(a=1;a<4;a++){

	 		 	move=move*10 + (instruction[b+a]-'0');

	 		 	}
	 			sprintf(hello,"%c%d",x,move);
	 			OLED_ShowString(20,20,hello);
	 	//		htim1.Instance->CCR4 = 110 ;
	 		// __HAL_TIM_SET_COMPARE(&htim8, TIM_CHANNEL_1, 1200);
	 		// __HAL_TIM_SET_COMPARE(&htim8, TIM_CHANNEL_2, 500);
	 		// htim1.Instance->CCR4 = 110 ;
	 		 //180 - 2.04
	 		 //270 - 3.06
	 		 //360 - 4.1
	 		 if(move==0){
	 			 __HAL_TIM_SET_COMPARE(&htim8, TIM_CHANNEL_1, speed1);
	 				  __HAL_TIM_SET_COMPARE(&htim8, TIM_CHANNEL_2, speed2);
	 				  osDelay(460);
	 				  htim1.Instance->CCR4 = 113 ;
	 				//  HAL_GPIO_WritePin(GPIOA,BIN2_Pin,GPIO_PIN_SET);
	 				 // HAL_GPIO_WritePin(GPIOA,BIN1_Pin,GPIO_PIN_RESET);
	 				  __HAL_TIM_SET_COMPARE(&htim8, TIM_CHANNEL_1, 1500);
	 				  __HAL_TIM_SET_COMPARE(&htim8, TIM_CHANNEL_2, 600);
	 				  osDelay(2500);
	 				  HAL_GPIO_WritePin(GPIOA,AIN2_Pin,GPIO_PIN_SET);
	 				  HAL_GPIO_WritePin(GPIOA,AIN1_Pin,GPIO_PIN_RESET);
	 				  HAL_GPIO_WritePin(GPIOA,BIN2_Pin,GPIO_PIN_SET);
	 				  HAL_GPIO_WritePin(GPIOA,BIN1_Pin,GPIO_PIN_RESET);
	 				  htim1.Instance->CCR4 = 54;
	 				  __HAL_TIM_SET_COMPARE(&htim8, TIM_CHANNEL_1, 500);
	 				  __HAL_TIM_SET_COMPARE(&htim8, TIM_CHANNEL_2, 2000);
	 				  osDelay(1030);
	 				  htim1.Instance->CCR4 = 73;
	 				  __HAL_TIM_SET_COMPARE(&htim8, TIM_CHANNEL_1, speed1);
	 				  __HAL_TIM_SET_COMPARE(&htim8, TIM_CHANNEL_2, speed2);

	 				  HAL_GPIO_WritePin(GPIOA,AIN2_Pin,GPIO_PIN_RESET);
	 				  HAL_GPIO_WritePin(GPIOA,AIN1_Pin,GPIO_PIN_SET);
	 				  HAL_GPIO_WritePin(GPIOA,BIN2_Pin,GPIO_PIN_RESET);
	 				  HAL_GPIO_WritePin(GPIOA,BIN1_Pin,GPIO_PIN_SET);
	 				  osDelay(623);
	 				  htim1.Instance->CCR4 = 73;

	 		 }
	 		 if(move==1){
	 			 osDelay(6300);
	 		 }
	 		 if(move==2){
	 			 osDelay(9500);
	 		 }
	 		 if(move==3){
	 			 osDelay(12250);
	 		 }
	 		// //osDelay(2950,5950,9000,12250)
	 		 htim1.Instance->CCR4 = 73;

	 		    b=b+4;

	 		    HAL_UART_Transmit(&huart3,(uint8_t *)dis,7,0xFFFF);
	 		 break;

	 case 'n':
		 instruction[b]=0;
		// x='s';
		 move=0;
		 for(a=1;a<4;a++){

		 move=move*10 + (instruction[b+a]-'0');

		 	}
			sprintf(hello,"%c%d",x,gO);
			OLED_ShowString(20,20,hello);
		 if(move==0){
			 navigate();
		 	}
		 if(move==1){
			 navigate();
			 navigate();
		 	}
		 if(move==2){
			 navigate();
			 navigate();
			 navigate();
		 	 }
		 if(move==3){
			 navigate();
			 navigate();
			 navigate();
			 navigate();
		  	 }

		    b=b+4;
		    HAL_UART_Transmit(&huart3,(uint8_t *)dis,7,0xFFFF);

		 break;

	 case 's':

		  __HAL_TIM_SET_COMPARE(&htim8, TIM_CHANNEL_1, 0);
		 __HAL_TIM_SET_COMPARE(&htim8, TIM_CHANNEL_2, 0);
		 osDelay(2000);
		    b=b+4;
		    HAL_UART_Transmit(&huart3,(uint8_t *)dis,7,0xFFFF);

		 break;
	 default:
		  __HAL_TIM_SET_COMPARE(&htim8, TIM_CHANNEL_1, 0);
		 __HAL_TIM_SET_COMPARE(&htim8, TIM_CHANNEL_2, 0);

		 break;
	 }

    osDelay(100);
   // aRxBuffer[0]='s';

//	osDelay(5000);
//	speed1=speed2=0;
  }
  /* USER CODE END motors */
}

void encoder(void *argument)
{
  /* USER CODE BEGIN encoder */
  /* Infinite loop */
	HAL_TIM_Encoder_Start(&htim2,TIM_CHANNEL_ALL);
	HAL_TIM_Encoder_Start(&htim3,TIM_CHANNEL_ALL);
	int a,b,c,d,e,f;
	uint32_t tick;
	a = __HAL_TIM_GET_COUNTER(&htim2);
	d = __HAL_TIM_GET_COUNTER(&htim3);
	tick=HAL_GetTick();
//	OLED_Display_On();
	uint8_t dis[4];
  for(;;)
  {
	  if(HAL_GetTick()-tick > 100L){
		  b =__HAL_TIM_GET_COUNTER(&htim2);
		  e = __HAL_TIM_GET_COUNTER(&htim3);
		 		  if(__HAL_TIM_IS_TIM_COUNTING_DOWN(&htim2)){
		 			  if(b<a){
		 				  c=a-b;
		 			  }
		 			  else{
		 				  c= (65535 - b)+a;
		 			  }
		 	  }
		 	  else{
		 		  if(b>a){
		 			  c=b-a;
		 		  }
		 		  else{
		 			  c= (65535-a)+b;
		 		  }
		  }
		 	if(__HAL_TIM_IS_TIM_COUNTING_DOWN(&htim3)){
		 		 		 			  if(e<d){
		 		 		 				  f=d-e;
		 		 		 			  }
		 		 		 			  else{
		 		 		 				  f= (65535 - e)+d;
		 		 		 			  }
		 		 		 	  }
		 		 		 	  else{
		 		 		 		  if(e>d){
		 		 		 			  f=e-d;
		 		 		 		  }
		 		 		 		  else{
		 		 		 			  f= (65535-d)+e;
		 		 		 		  }
		 		 		  }
		 	a=__HAL_TIM_GET_COUNTER(&htim2);
		 	d = __HAL_TIM_GET_COUNTER(&htim3);
		    tick=HAL_GetTick();
		   // if(c!=65535)

		    if(c<60000 && (x=='f'||x=='b')){
		   Dist=(Dist+((c*10)/1.28)/6);
		   stop=((c*10)/1.28)/6;

		    }
		   sprintf(dis,"%5d %5d",c,Dist);
		   OLED_ShowString(10,10,dis);

		  // move=move*10;

		    }
		    	// OLED_ShowString(10,10,dis);
		    	//  OLED_Refresh_Gram();
	  }

	  }

  /* USER CODE END encoder */

void show(void *argument)
{
  /* USER CODE BEGIN show */
  /* Infinite loop */
	int a=0;
	uint32_t hello[5];
	uint16_t b;
	uint32_t dis[20];
	int distance;
	 HAL_TIM_Base_Start(&htim4);
	 HAL_TIM_IC_Start_IT(&htim4, TIM_CHANNEL_1);

  for(;;)
  {

	//  HCSR04_Read();
	 // dist=Distance;
	 // sprintf(hello,"%d",dist);

	//  sprintf(dis," %d",a);
	//  OLED_ShowString(10,30,dis);
	//  OLED_Refresh_Gram();
	//  osDelay(200);
	  HAL_ADC_Start(&hadc1);
	  HAL_ADC_PollForConversion(&hadc1,1000);
	  b= HAL_ADC_GetValue(&hadc1);
	  HAL_ADC_Stop(&hadc1);
	  //a=a*100;
	 // distance  = a* .034/2;
	/*  if(b>2300){
	  dist=b*-0.004+22;
	  }
	  else{

		  dist = (3308-b)/85;

	  }
	  if(dist>23){
		  dist=dist+2;
	  }*/
	 dist= (0.0000313111 *pow(b,2))-(0.230545* b)+493.974;
	  sprintf(hello,"%d %d",dist,b);
	  OLED_ShowString(10,30,hello);

	/*  if(Distance<50 && Distance>0){
	 		 htim1.Instance->CCR4 = 52;
	 		 osDelay(3150);
	 		 htim1.Instance->CCR4 = 75;
	 	 }*/
	//e  osDelay(100);
	  OLED_Refresh_Gram();
	//  if(dist<15){
	//	  speed1=0;
	///	  speed2=0;
	//	  HAL_TIM_PWM_Stop(&htim8, TIM_CHANNEL_1);
	//	  HAL_TIM_PWM_Stop(&htim8, TIM_CHANNEL_2);
	//  }*/

	  //osDelay(100);

  }

  /* USER CODE END show */
}

// Let's write the callback function

void HAL_TIM_IC_CaptureCallback(TIM_HandleTypeDef *htim)
{

	if (htim->Channel == HAL_TIM_ACTIVE_CHANNEL_1)  // if the interrupt source is channel1
	{
		if (Is_First_Captured==0) // if the first value is not captured
		{
			IC_Val1 = HAL_TIM_ReadCapturedValue(htim, TIM_CHANNEL_1); // read the first value
			Is_First_Captured = 1;  // set the first captured as true
			// Now change the polarity to falling edge
			__HAL_TIM_SET_CAPTUREPOLARITY(htim, TIM_CHANNEL_1, TIM_INPUTCHANNELPOLARITY_FALLING);
		}

		else if (Is_First_Captured==1)   // if the first is already captured
		{
			IC_Val2 = HAL_TIM_ReadCapturedValue(htim, TIM_CHANNEL_1);  // read second value
			__HAL_TIM_SET_COUNTER(htim, 0);  // reset the counter

			if (IC_Val2 > IC_Val1)
			{
				Difference = IC_Val2-IC_Val1;
			}

			else if (IC_Val1 > IC_Val2)
			{
				Difference = (0xffff - IC_Val1) + IC_Val2;
			}

			Distance = Difference * .034/2;
			Is_First_Captured = 0; // set it back to false

			// set polarity to rising edge
			__HAL_TIM_SET_CAPTUREPOLARITY(htim, TIM_CHANNEL_1, TIM_INPUTCHANNELPOLARITY_RISING);
			__HAL_TIM_DISABLE_IT(&htim4, TIM_IT_CC1);
		}
	}
}
void HCSR04_Read (void)
{
	HAL_GPIO_WritePin(TRIG_PORT, TRIG_PIN, GPIO_PIN_SET);  // pull the TRIG pin HIGH
	delay(10);  // wait for 10 us
	HAL_GPIO_WritePin(TRIG_PORT, TRIG_PIN, GPIO_PIN_RESET);  // pull the TRIG pin low

	__HAL_TIM_ENABLE_IT(&htim4, TIM_IT_CC1);
}
void delay (uint16_t time)
{
	__HAL_TIM_SET_COUNTER(&htim4, 0);
	while (__HAL_TIM_GET_COUNTER (&htim4) < time);
}
void navigate (){
 	  osDelay(1000);
  	  HAL_TIM_PWM_Start(&htim8, TIM_CHANNEL_1);
  	HAL_TIM_PWM_Start(&htim8, TIM_CHANNEL_2);
  	  HAL_GPIO_WritePin(GPIOA,AIN2_Pin,GPIO_PIN_SET);
       HAL_GPIO_WritePin(GPIOA,AIN1_Pin,GPIO_PIN_RESET);
  	 HAL_GPIO_WritePin(GPIOA,BIN2_Pin,GPIO_PIN_SET);
  	HAL_GPIO_WritePin(GPIOA,BIN1_Pin,GPIO_PIN_RESET);
  	//htim1.Instance->CCR4 = 110;
	 __HAL_TIM_SET_COMPARE(&htim8, TIM_CHANNEL_1, speed1);
	__HAL_TIM_SET_COMPARE(&htim8, TIM_CHANNEL_2, speed2);
	osDelay(300);
	htim1.Instance->CCR4 = 57;
	HAL_GPIO_WritePin(GPIOA,AIN2_Pin,GPIO_PIN_RESET);
	HAL_GPIO_WritePin(GPIOA,AIN1_Pin,GPIO_PIN_SET);
	HAL_GPIO_WritePin(GPIOA,BIN2_Pin,GPIO_PIN_RESET);
	HAL_GPIO_WritePin(GPIOA,BIN1_Pin,GPIO_PIN_SET);
	osDelay(2000);
	htim1.Instance->CCR4 = 72;
	osDelay(2000);
	htim1.Instance->CCR4 = 55;
	HAL_GPIO_WritePin(GPIOA,AIN2_Pin,GPIO_PIN_SET);
	HAL_GPIO_WritePin(GPIOA,AIN1_Pin,GPIO_PIN_RESET);
	HAL_GPIO_WritePin(GPIOA,BIN2_Pin,GPIO_PIN_SET);
	HAL_GPIO_WritePin(GPIOA,BIN1_Pin,GPIO_PIN_RESET);
	osDelay(1700);
	HAL_GPIO_WritePin(GPIOA,AIN2_Pin,GPIO_PIN_RESET);
	HAL_GPIO_WritePin(GPIOA,AIN1_Pin,GPIO_PIN_SET);
	HAL_GPIO_WritePin(GPIOA,BIN2_Pin,GPIO_PIN_RESET);
	HAL_GPIO_WritePin(GPIOA,BIN1_Pin,GPIO_PIN_SET);
	htim1.Instance->CCR4 = 100;
	osDelay(1000);
	htim1.Instance->CCR4 = 72;
	osDelay(1600);
	htim1.Instance->CCR4 = 55;
	HAL_GPIO_WritePin(GPIOA,AIN2_Pin,GPIO_PIN_SET);
	HAL_GPIO_WritePin(GPIOA,AIN1_Pin,GPIO_PIN_RESET);
	HAL_GPIO_WritePin(GPIOA,BIN2_Pin,GPIO_PIN_SET);
	HAL_GPIO_WritePin(GPIOA,BIN1_Pin,GPIO_PIN_RESET);
	osDelay(3520);
	htim1.Instance->CCR4 = 72;
	HAL_GPIO_WritePin(GPIOA,AIN2_Pin,GPIO_PIN_RESET);
	HAL_GPIO_WritePin(GPIOA,AIN1_Pin,GPIO_PIN_SET);
	HAL_GPIO_WritePin(GPIOA,BIN2_Pin,GPIO_PIN_RESET);
	HAL_GPIO_WritePin(GPIOA,BIN1_Pin,GPIO_PIN_SET);
	//osDelay(600);
	htim1.Instance->CCR4 = 72;
	osDelay(300);
	//htim1.Instance->CCR4 = 72;

	 __HAL_TIM_SET_COMPARE(&htim8, TIM_CHANNEL_1, 0);
	 __HAL_TIM_SET_COMPARE(&htim8, TIM_CHANNEL_2, 0);
  //	htim1.Instance->CCR4 = 75;
  	osDelay(1000);
}
void HAL_UART_RxCpltCallback(UART_HandleTypeDef *huart){
	int a;
	HAL_UART_Transmit(&huart3,(uint8_t *)aRxBuffer,10,0xFFFF);
	for(a=0;a<4;a++){
		instruction[y]=aRxBuffer[a];
		y++;
	}
	instruction[y]='\0';
		 //sprintf(hello,"%s\0 %d ",cmd);
	//OLED_ShowString(10,40,hello);
		// OLED_Refresh();
		// x/=1000;

}

void Error_Handler(void)
{
  __disable_irq();
  while (1)
  {
  }
}
